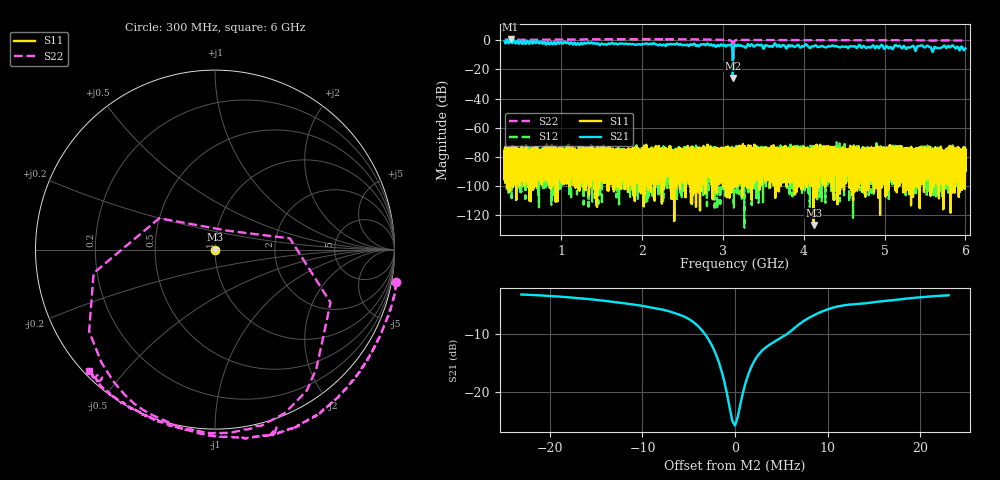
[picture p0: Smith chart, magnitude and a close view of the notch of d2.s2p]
!Agilent Technologies,N5230C,SG49000117,A.08.50.07
!Agilent N5230C: A.08.50.07
!Date: Sunday, March 17, 2024 09:27:31
!Correction: S11(Off)
!S21(Off)
!S12(Off)
!S22(Full 1 Port(2))
!S2P File: Measurements: S11, S21, S12, S22:
# Hz S  RI  R 50
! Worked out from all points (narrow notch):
!   20001 points, 300 MHz to 6 GHz, reference 50 ohm
!   highest |S21| = 0.46 dB at 374.1 MHz (marker M1); lowest = -25.9 dB at 3.123 GHz (marker M2)
!   notch at M2: 22.4 dB deep, 3.89 MHz wide at half that depth
!   lowest |S11| = -126.7 dB at 4.124 GHz (marker M3), VSWR 1.00, Z = 50 + j4.4e-05 ohm
!   |S11| at or under -10 dB: start of sweep to end of sweep
!   |S22| runs from -18.3 to 0.7 dB; largest |S21 - S12| = 1.1
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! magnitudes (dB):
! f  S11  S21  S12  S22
! 300 MHz  -83.7  -0.9  -82.5  0.2
! 374.1 MHz  -85.0  0.5  -79.7  0.2
! 1.25 GHz  -85.1  -1.7  -88.4  0.5
! 2.2 GHz  -77.9  -3.6  -83.9  0.7
! 3.051 GHz  -94.8  -3.7  -78.0  0.1
! 3.085 GHz  -75.6  -3.3  -79.7  -0.1
! 3.102 GHz  -83.2  -3.3  -82.8  -0.3
! 3.123 GHz  -95.5  -25.9  -77.2  -7.7
! 3.15 GHz  -77.8  -3.2  -96.8  -0.3
! 3.162 GHz  -90.0  -3.8  -87.3  0.1
! 3.189 GHz  -86.2  -3.2  -83.1  0.2
! 4.03 GHz  -80.0  -2.8  -80.6  0.0
! 4.1 GHz  -81.4  -4.2  -78.6  0.0
! 4.124 GHz  -126.7  -4.2  -87.3  0.0
! 5.05 GHz  -81.8  -5.5  -86.3  0.0
! 5.153 GHz  -80.0  -3.9  -79.6  0.0
! 5.389 GHz  -81.3  -6.9  -79.9  -0.1
! 5.448 GHz  -83.4  -3.6  -78.4  -0.1
! 5.545 GHz  -76.8  -4.3  -82.6  -0.1
! 5.59 GHz  -80.1  -7.7  -75.3  -0.3
! 5.838 GHz  -81.0  -3.6  -88.4  -0.2
! 6 GHz  -78.4  -5.6  -85.0  -0.2
